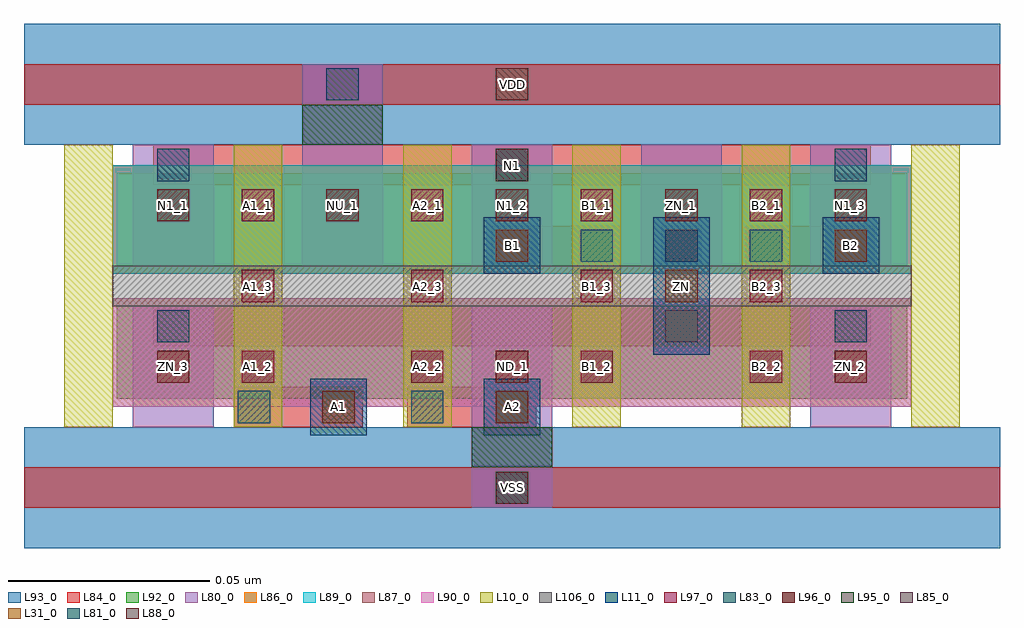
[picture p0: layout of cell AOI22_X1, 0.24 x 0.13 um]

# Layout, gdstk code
import gdstk
lib = gdstk.Library(unit=1e-6, precision=1e-09)
def R(c, l, rs):  # rectangles x0, y0, x1, y1
    for r in rs: c.add(gdstk.rectangle(r[:2], r[2:], *l))
def A(c, l, x, y, w, h, nx, ny, dx, dy):  # array of equal rectangles
    R(c, l, [(x+i*dx, y+j*dy, x+i*dx+w, y+j*dy+h) for i in range(nx) for j in range(ny)])
L10_0 = (10, 0)
L11_0 = (11, 0)
L31_0 = (31, 0)
L80_0 = (80, 0)
L81_0 = (81, 0)
L83_0 = (83, 0)
L84_0 = (84, 0)
L85_0 = (85, 0)
L86_0 = (86, 0)
L87_0 = (87, 0)
L88_0 = (88, 0)
L89_0 = (89, 0)
L90_0 = (90, 0)
L92_0 = (92, 0)
L93_0 = (93, 0)
L95_0 = (95, 0)
L96_0 = (96, 0)
L97_0 = (97, 0)
L106_0 = (106, 0)

aoi22_x1 = lib.new_cell('AOI22_X1')
A(aoi22_x1, L10_0, -0.027, 0.015, 0.012, 0.07, 6, 1, 0.042, 0)
R(aoi22_x1, L11_0, [(0.034,0.013,0.048,0.027), (0.077,0.013,0.091,0.027), (0.119,0.033,0.133,0.067), (0.077,0.053,0.091,0.067), (0.161,0.053,0.175,0.067)])
R(aoi22_x1, L31_0, [(0.037,0.016,0.045,0.024), (0.08,0.016,0.088,0.024), (0.122,0.046,0.13,0.054), (0.08,0.056,0.088,0.064), (0.164,0.056,0.172,0.064)])
A(aoi22_x1, L80_0, -0.01, 0.015, 0.02, 0.03, 3, 1, 0.084, 0)
A(aoi22_x1, L80_0, -0.01, 0.055, 0.02, 0.03, 5, 1, 0.042, 0)
R(aoi22_x1, L80_0, [(0.074,-0.005,0.094,0.025), (0.032,0.075,0.052,0.105)])
R(aoi22_x1, L81_0, [(0.016,0.016,0.024,0.024), (0.059,0.016,0.067,0.024), (0.101,0.056,0.109,0.064), (0.143,0.056,0.151,0.064)])
A(aoi22_x1, L83_0, -0.004, 0.076, 0.008, 0.008, 3, 1, 0.084, 0)
R(aoi22_x1, L83_0, [(0.08,-0.004,0.088,0.004), (-0.004,0.036,0.004,0.044), (0.164,0.036,0.172,0.044), (0.122,0.056,0.13,0.064), (-0.004,0.076,0.004,0.084), (-0.004,0.076,0.004,0.084), (0.038,0.096,0.046,0.104)])
A(aoi22_x1, L84_0, -0.005, 0.035, 0.031, 0.01, 8, 2, 0.021, 0.04)
R(aoi22_x1, L84_0, [(-0.037,-0.005,0.205,0.005), (0.015,0.015,0.047,0.025), (0.058,0.015,0.09,0.025), (0.079,0.055,0.111,0.065), (0.121,0.055,0.131,0.065), (0.142,0.055,0.174,0.065), (-0.037,0.095,0.205,0.105)])
A(aoi22_x1, L85_0, 0.08, 0.056, 0.008, 0.008, 3, 1, 0.042, 0)
R(aoi22_x1, L85_0, [(0.037,0.016,0.045,0.024), (0.08,0.016,0.088,0.024), (0.122,0.036,0.13,0.044)])
R(aoi22_x1, L86_0, [(-0.015,0.053,0.183,0.08)])
R(aoi22_x1, L87_0, [(-0.015,0.02,0.183,0.047)])
R(aoi22_x1, L88_0, [(0.08,-0.004,0.088,0.004), (0.08,0.076,0.088,0.084), (0.08,0.096,0.088,0.104)])
R(aoi22_x1, L89_0, [(-0.015,0.053,0.183,0.08)])
R(aoi22_x1, L90_0, [(-0.015,0.02,0.183,0.047)])
R(aoi22_x1, L92_0, [(-0.014,0.022,0.182,0.045), (-0.014,0.055,0.182,0.078)])
R(aoi22_x1, L93_0, [(-0.037,-0.015,0.205,0.015), (-0.037,0.085,0.205,0.115)])
R(aoi22_x1, L95_0, [(0.074,0.005,0.094,0.015), (0.032,0.085,0.052,0.095)])
A(aoi22_x1, L96_0, -0.004, 0.026, 0.008, 0.008, 3, 1, 0.084, 0)
A(aoi22_x1, L96_0, -0.004, 0.066, 0.008, 0.008, 5, 1, 0.042, 0)
A(aoi22_x1, L97_0, 0.017, 0.026, 0.008, 0.008, 4, 3, 0.042, 0.02)
R(aoi22_x1, L106_0, [(-0.015,0.045,0.183,0.055)])
aoi22_x1.add(gdstk.Label('B2_2', (0.147,0.03), layer=97, texttype=0))
aoi22_x1.add(gdstk.Label('B2_3', (0.147,0.05), layer=97, texttype=0))
aoi22_x1.add(gdstk.Label('B2_1', (0.147,0.07), layer=97, texttype=0))
aoi22_x1.add(gdstk.Label('A1_2', (0.021,0.03), layer=97, texttype=0))
aoi22_x1.add(gdstk.Label('A2_2', (0.063,0.03), layer=97, texttype=0))
aoi22_x1.add(gdstk.Label('B1_2', (0.105,0.03), layer=97, texttype=0))
aoi22_x1.add(gdstk.Label('B1_3', (0.105,0.05), layer=97, texttype=0))
aoi22_x1.add(gdstk.Label('A2_3', (0.063,0.05), layer=97, texttype=0))
aoi22_x1.add(gdstk.Label('A1_3', (0.021,0.05), layer=97, texttype=0))
aoi22_x1.add(gdstk.Label('B1_1', (0.105,0.07), layer=97, texttype=0))
aoi22_x1.add(gdstk.Label('A2_1', (0.063,0.07), layer=97, texttype=0))
aoi22_x1.add(gdstk.Label('A1_1', (0.021,0.07), layer=97, texttype=0))
aoi22_x1.add(gdstk.Label('N1_3', (0.168,0.07), layer=96, texttype=0))
aoi22_x1.add(gdstk.Label('ZN_2', (0.168,0.03), layer=96, texttype=0))
aoi22_x1.add(gdstk.Label('ZN_1', (0.126,0.07), layer=96, texttype=0))
aoi22_x1.add(gdstk.Label('ZN_3', (0,0.03), layer=96, texttype=0))
aoi22_x1.add(gdstk.Label('ND_1', (0.084,0.03), layer=96, texttype=0))
aoi22_x1.add(gdstk.Label('N1_2', (0.084,0.07), layer=96, texttype=0))
aoi22_x1.add(gdstk.Label('NU_1', (0.042,0.07), layer=96, texttype=0))
aoi22_x1.add(gdstk.Label('N1_1', (0,0.07), layer=96, texttype=0))
aoi22_x1.add(gdstk.Label('N1', (0.084,0.08), layer=88, texttype=0))
aoi22_x1.add(gdstk.Label('VDD', (0.084,0.1), layer=88, texttype=0))
aoi22_x1.add(gdstk.Label('VSS', (0.084,0), layer=88, texttype=0))
aoi22_x1.add(gdstk.Label('ZN', (0.126,0.05), layer=31, texttype=0))
aoi22_x1.add(gdstk.Label('B2', (0.168,0.06), layer=31, texttype=0))
aoi22_x1.add(gdstk.Label('B1', (0.084,0.06), layer=31, texttype=0))
aoi22_x1.add(gdstk.Label('A2', (0.084,0.02), layer=31, texttype=0))
aoi22_x1.add(gdstk.Label('A1', (0.041,0.02), layer=31, texttype=0))

lib.write_gds('AOI22_X1.gds')
